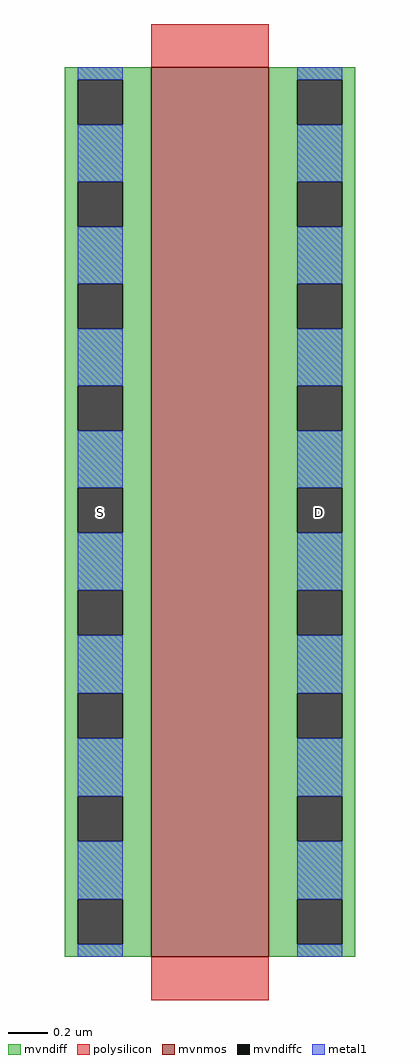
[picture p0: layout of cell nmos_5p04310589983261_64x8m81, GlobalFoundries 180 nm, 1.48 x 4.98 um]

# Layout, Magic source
magic
tech gf180mcuA
magscale 1 10
<< mvnmos >>
rect 0 0 120 908
<< mvndiff >>
rect -88 895 0 908
rect -88 849 -75 895
rect -29 849 0 895
rect -88 791 0 849
rect -88 745 -75 791
rect -29 745 0 791
rect -88 687 0 745
rect -88 641 -75 687
rect -29 641 0 687
rect -88 583 0 641
rect -88 537 -75 583
rect -29 537 0 583
rect -88 479 0 537
rect -88 433 -75 479
rect -29 433 0 479
rect -88 374 0 433
rect -88 328 -75 374
rect -29 328 0 374
rect -88 269 0 328
rect -88 223 -75 269
rect -29 223 0 269
rect -88 164 0 223
rect -88 118 -75 164
rect -29 118 0 164
rect -88 59 0 118
rect -88 13 -75 59
rect -29 13 0 59
rect -88 0 0 13
rect 120 895 208 908
rect 120 849 149 895
rect 195 849 208 895
rect 120 791 208 849
rect 120 745 149 791
rect 195 745 208 791
rect 120 687 208 745
rect 120 641 149 687
rect 195 641 208 687
rect 120 583 208 641
rect 120 537 149 583
rect 195 537 208 583
rect 120 479 208 537
rect 120 433 149 479
rect 195 433 208 479
rect 120 374 208 433
rect 120 328 149 374
rect 195 328 208 374
rect 120 269 208 328
rect 120 223 149 269
rect 195 223 208 269
rect 120 164 208 223
rect 120 118 149 164
rect 195 118 208 164
rect 120 59 208 118
rect 120 13 149 59
rect 195 13 208 59
rect 120 0 208 13
<< mvndiffc >>
rect -75 849 -29 895
rect -75 745 -29 791
rect -75 641 -29 687
rect -75 537 -29 583
rect -75 433 -29 479
rect -75 328 -29 374
rect -75 223 -29 269
rect -75 118 -29 164
rect -75 13 -29 59
rect 149 849 195 895
rect 149 745 195 791
rect 149 641 195 687
rect 149 537 195 583
rect 149 433 195 479
rect 149 328 195 374
rect 149 223 195 269
rect 149 118 195 164
rect 149 13 195 59
<< polysilicon >>
rect 0 908 120 952
rect 0 -44 120 0
<< metal1 >>
rect -75 895 -29 908
rect -75 791 -29 849
rect -75 687 -29 745
rect -75 583 -29 641
rect -75 479 -29 537
rect -75 374 -29 433
rect -75 269 -29 328
rect -75 164 -29 223
rect -75 59 -29 118
rect -75 0 -29 13
rect 149 895 195 908
rect 149 791 195 849
rect 149 687 195 745
rect 149 583 195 641
rect 149 479 195 537
rect 149 374 195 433
rect 149 269 195 328
rect 149 164 195 223
rect 149 59 195 118
rect 149 0 195 13
<< labels >>
flabel metal1 s -52 454 -52 454 0 FreeSans 200 0 0 0 S
flabel metal1 s 172 454 172 454 0 FreeSans 200 0 0 0 D
<< properties >>
string GDS_END 47402
string GDS_FILE $PDKPATH/libs.ref/gf180mcu_fd_ip_sram/gds/gf180mcu_fd_ip_sram__sram64x8m8wm1.gds
string GDS_START 45354
<< end >>
